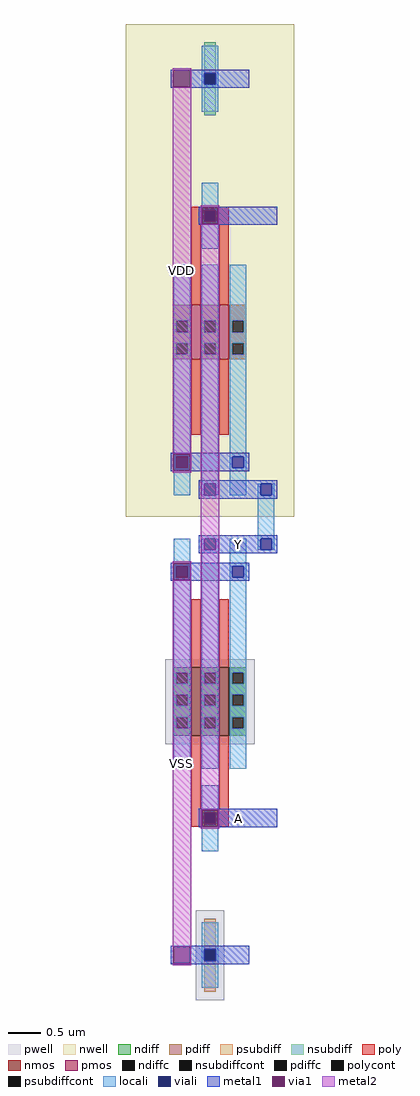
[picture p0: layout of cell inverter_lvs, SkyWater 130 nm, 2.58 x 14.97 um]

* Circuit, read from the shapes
.subckt inverter_lvs A VDD VSS Y
XM1 Y A VSS VSS sky130_fd_pr__nfet_01v8 w=1.05 l=0.15 m=2
XM2 Y A VDD VDD sky130_fd_pr__pfet_01v8 w=0.84 l=0.15 m=2
.ends

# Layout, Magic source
magic
tech sky130A
magscale 1 2
<< nwell >>
rect 0 1512 516 3024
<< pwell >>
rect 121 814 395 1076
rect 215 30 301 306
<< nmos >>
rect 200 840 230 1050
rect 286 840 316 1050
<< pmos >>
rect 200 1995 230 2163
rect 286 1995 316 2163
<< ndiff >>
rect 147 1034 200 1050
rect 147 1000 155 1034
rect 189 1000 200 1034
rect 147 966 200 1000
rect 147 932 155 966
rect 189 932 200 966
rect 147 898 200 932
rect 147 864 155 898
rect 189 864 200 898
rect 147 840 200 864
rect 230 1034 286 1050
rect 230 1000 241 1034
rect 275 1000 286 1034
rect 230 966 286 1000
rect 230 932 241 966
rect 275 932 286 966
rect 230 898 286 932
rect 230 864 241 898
rect 275 864 286 898
rect 230 840 286 864
rect 316 1034 369 1050
rect 316 1000 327 1034
rect 361 1000 369 1034
rect 316 966 369 1000
rect 316 932 327 966
rect 361 932 369 966
rect 316 898 369 932
rect 316 864 327 898
rect 361 864 369 898
rect 316 840 369 864
<< pdiff >>
rect 147 2113 200 2163
rect 147 2079 155 2113
rect 189 2079 200 2113
rect 147 2045 200 2079
rect 147 2011 155 2045
rect 189 2011 200 2045
rect 147 1995 200 2011
rect 230 2113 286 2163
rect 230 2079 241 2113
rect 275 2079 286 2113
rect 230 2045 286 2079
rect 230 2011 241 2045
rect 275 2011 286 2045
rect 230 1995 286 2011
rect 316 2113 369 2163
rect 316 2079 327 2113
rect 361 2079 369 2113
rect 316 2045 369 2079
rect 316 2011 327 2045
rect 361 2011 369 2045
rect 316 1995 369 2011
<< ndiffc >>
rect 155 1000 189 1034
rect 155 932 189 966
rect 155 864 189 898
rect 241 1000 275 1034
rect 241 932 275 966
rect 241 864 275 898
rect 327 1000 361 1034
rect 327 932 361 966
rect 327 864 361 898
<< pdiffc >>
rect 155 2079 189 2113
rect 155 2011 189 2045
rect 241 2079 275 2113
rect 241 2011 275 2045
rect 327 2079 361 2113
rect 327 2011 361 2045
<< psubdiff >>
rect 241 185 275 280
rect 241 56 275 151
<< nsubdiff >>
rect 241 2873 275 2968
rect 241 2744 275 2839
<< psubdiffcont >>
rect 241 151 275 185
<< nsubdiffcont >>
rect 241 2839 275 2873
<< poly >>
rect 200 2453 316 2463
rect 200 2419 241 2453
rect 275 2419 316 2453
rect 200 2409 316 2419
rect 200 2163 230 2409
rect 286 2163 316 2409
rect 200 1764 230 1995
rect 286 1764 316 1995
rect 200 1050 230 1260
rect 286 1050 316 1260
rect 200 615 230 840
rect 286 615 316 840
rect 200 605 316 615
rect 200 571 241 605
rect 275 571 316 605
rect 200 561 316 571
<< polycont >>
rect 241 2419 275 2453
rect 241 571 275 605
<< locali >>
rect 233 2873 283 2957
rect 233 2839 241 2873
rect 275 2839 283 2873
rect 233 2755 283 2839
rect 233 2453 283 2537
rect 233 2419 241 2453
rect 275 2419 283 2453
rect 233 2335 283 2419
rect 147 2113 197 2285
rect 147 2079 155 2113
rect 189 2079 197 2113
rect 147 2045 197 2079
rect 147 2011 155 2045
rect 189 2011 197 2045
rect 147 1697 197 2011
rect 147 1663 155 1697
rect 189 1663 197 1697
rect 147 1579 197 1663
rect 233 2113 283 2285
rect 233 2079 241 2113
rect 275 2079 283 2113
rect 233 2045 283 2079
rect 233 2011 241 2045
rect 275 2011 283 2045
rect 233 1613 283 2011
rect 233 1579 241 1613
rect 275 1579 283 1613
rect 319 2113 369 2285
rect 319 2079 327 2113
rect 361 2079 369 2113
rect 319 2045 369 2079
rect 319 2011 327 2045
rect 361 2011 369 2045
rect 319 1697 369 2011
rect 319 1663 327 1697
rect 361 1663 369 1697
rect 319 1579 369 1663
rect 405 1579 413 1613
rect 447 1579 455 1613
rect 405 1445 455 1579
rect 147 1361 197 1445
rect 147 1327 155 1361
rect 189 1327 197 1361
rect 147 1034 197 1327
rect 147 1000 155 1034
rect 189 1000 197 1034
rect 147 966 197 1000
rect 147 932 155 966
rect 189 932 197 966
rect 147 898 197 932
rect 147 864 155 898
rect 189 864 197 898
rect 147 739 197 864
rect 233 1411 241 1445
rect 275 1411 283 1445
rect 233 1034 283 1411
rect 233 1000 241 1034
rect 275 1000 283 1034
rect 233 966 283 1000
rect 233 932 241 966
rect 275 932 283 966
rect 233 898 283 932
rect 233 864 241 898
rect 275 864 283 898
rect 233 739 283 864
rect 319 1361 369 1445
rect 405 1411 413 1445
rect 447 1411 455 1445
rect 319 1327 327 1361
rect 361 1327 369 1361
rect 319 1034 369 1327
rect 319 1000 327 1034
rect 361 1000 369 1034
rect 319 966 369 1000
rect 319 932 327 966
rect 361 932 369 966
rect 319 898 369 932
rect 319 864 327 898
rect 361 864 369 898
rect 319 739 369 864
rect 233 605 283 689
rect 233 571 241 605
rect 275 571 283 605
rect 233 487 283 571
rect 233 185 283 269
rect 233 151 241 185
rect 275 151 283 185
rect 233 67 283 151
<< viali >>
rect 241 2839 275 2873
rect 241 2419 275 2453
rect 155 1663 189 1697
rect 241 1579 275 1613
rect 327 1663 361 1697
rect 413 1579 447 1613
rect 155 1327 189 1361
rect 241 1411 275 1445
rect 413 1411 447 1445
rect 327 1327 361 1361
rect 241 571 275 605
rect 241 151 275 185
<< metal1 >>
rect 138 2882 378 2884
rect 138 2830 146 2882
rect 198 2873 378 2882
rect 198 2839 241 2873
rect 275 2839 378 2873
rect 198 2830 378 2839
rect 138 2828 378 2830
rect 224 2462 464 2464
rect 224 2410 232 2462
rect 284 2410 464 2462
rect 224 2408 464 2410
rect 138 1706 378 1708
rect 138 1654 146 1706
rect 198 1697 378 1706
rect 198 1663 327 1697
rect 361 1663 378 1697
rect 198 1654 378 1663
rect 138 1652 378 1654
rect 224 1613 464 1624
rect 224 1579 241 1613
rect 275 1579 413 1613
rect 447 1579 464 1613
rect 224 1568 464 1579
rect 224 1445 464 1456
rect 224 1411 241 1445
rect 275 1411 413 1445
rect 447 1411 464 1445
rect 224 1400 464 1411
rect 138 1370 378 1372
rect 138 1318 146 1370
rect 198 1361 378 1370
rect 198 1327 327 1361
rect 361 1327 378 1361
rect 198 1318 378 1327
rect 138 1316 378 1318
rect 224 614 464 616
rect 224 562 232 614
rect 284 562 464 614
rect 224 560 464 562
rect 138 194 378 196
rect 138 142 146 194
rect 198 185 378 194
rect 198 151 241 185
rect 275 151 378 185
rect 198 142 378 151
rect 138 140 378 142
<< via1 >>
rect 146 2830 198 2882
rect 232 2453 284 2462
rect 232 2419 241 2453
rect 241 2419 275 2453
rect 275 2419 284 2453
rect 232 2410 284 2419
rect 146 1697 198 1706
rect 146 1663 155 1697
rect 155 1663 189 1697
rect 189 1663 198 1697
rect 146 1654 198 1663
rect 146 1361 198 1370
rect 146 1327 155 1361
rect 155 1327 189 1361
rect 189 1327 198 1361
rect 146 1318 198 1327
rect 232 605 284 614
rect 232 571 241 605
rect 241 571 275 605
rect 275 571 284 605
rect 232 562 284 571
rect 146 142 198 194
<< metal2 >>
rect 144 2882 200 2888
rect 144 2830 146 2882
rect 198 2830 200 2882
rect 144 1706 200 2830
rect 144 1654 146 1706
rect 198 1654 200 1706
rect 144 1648 200 1654
rect 230 2462 286 2468
rect 230 2410 232 2462
rect 284 2410 286 2462
rect 144 1370 200 1376
rect 144 1318 146 1370
rect 198 1318 200 1370
rect 144 194 200 1318
rect 230 614 286 2410
rect 230 562 232 614
rect 284 562 286 614
rect 230 556 286 562
rect 144 142 146 194
rect 198 142 200 194
rect 144 136 200 142
<< labels >>
flabel metal1 s 344 588 344 588 0 FreeSerif 0 0 0 0 A
flabel metal2 s 172 756 172 756 0 FreeSerif 0 0 0 0 VSS
flabel metal2 s 172 2268 172 2268 0 FreeSerif 0 0 0 0 VDD
flabel metal1 s 344 1428 344 1428 0 FreeSerif 0 0 0 0 Y
<< end >>
